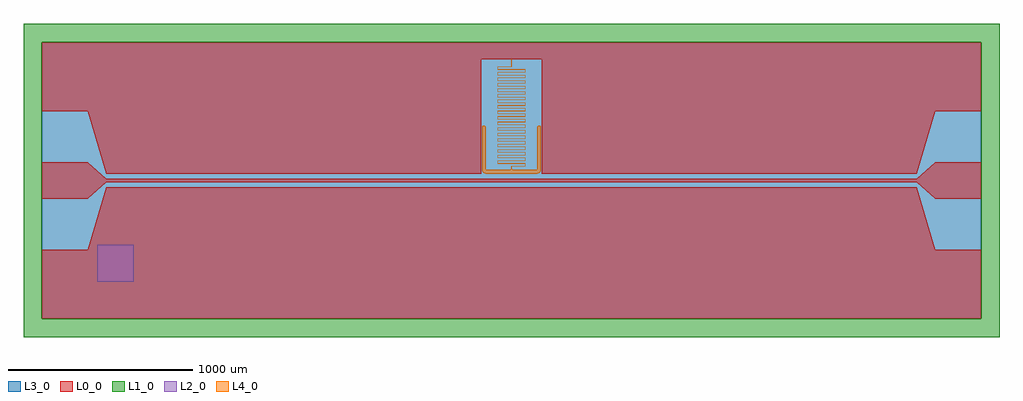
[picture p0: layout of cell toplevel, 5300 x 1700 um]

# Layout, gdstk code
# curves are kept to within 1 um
import gdstk
lib = gdstk.Library(unit=1e-6, precision=1e-09)
def R(c, l, rs):  # rectangles x0, y0, x1, y1
    for r in rs: c.add(gdstk.rectangle(r[:2], r[2:], *l))
def P(c, l, *ps):  # polygons
    for p in ps: c.add(gdstk.Polygon(p, *l))
L0_0 = (0, 0)
L1_0 = (1, 0)
L2_0 = (2, 0)
L3_0 = (3, 0)
L4_0 = (4, 0)

toplevel = lib.new_cell('toplevel')
P(toplevel, L0_0, [(165,657.5),(165,37.5),(2200,37.5),(2300,375),(2550,375),(2550,750),(-2550,750),(-2550,375),(-2300,375),(-2200,37.5),(-165,37.5),(-165,657.5)],
  [(2550,-750),(2550,-375),(2300,-375),(2200,-37.5),(-2200,-37.5),(-2300,-375),(-2550,-375),(-2550,-750)],
  [(-2200,10),(-2300,100),(-2550,100),(-2550,-100),(-2300,-100),(-2200,-10),(2200,-10),(2300,-100),(2550,-100),(2550,100),(2300,100),(2200,10)])
P(toplevel, L1_0, [(2650,850),(-2650,850),(-2650,-750),(-2550,-750),(-2550,750),(2550,750),(2550,-750),(-2550,-750),(-2650,-750),(-2650,-850),(2650,-850)])
R(toplevel, L2_0, [(-2250,-550,-2050,-350)])
R(toplevel, L3_0, [(-2550,-750,2550,750)])
P(toplevel, L4_0, [(0.302,76.548),(0.709,77.175),(74.639,77.305),(75.3,78.514),(75.297,91.589),(74.788,92.621),(-74.18,92.809),(-74.699,93.466),(-74.525,107.075),(74.251,107.213),(75.008,107.558),(75.296,108.376),(75.299,121.542),(74.976,122.476),(73.931,122.8),(-74.18,122.809),(-74.698,123.452),(-74.572,137.03),(74.251,137.213),(75.003,137.552),(75.295,138.358),(75.076,152.358),(73.937,152.8),(-74.18,152.809),(-74.698,153.447),(-74.601,166.989),(74.245,167.213),(74.998,167.547),(75.294,168.346),(75.136,182.263),(73.942,182.8),(-74.176,182.809),(-74.698,183.423),(-74.563,197.04),(73.997,197.2),(74.87,197.433),(75.273,198.149),(75.293,211.677),(74.992,212.459),(74.245,212.787),(-73.935,212.8),(-74.681,213.245),(-74.572,227.03),(73.964,227.2),(74.858,227.424),(75.271,228.136),(75.293,241.677),(74.992,242.459),(74.245,242.787),(-73.935,242.8),(-74.679,243.233),(-74.572,257.03),(73.964,257.2),(74.852,257.42),(75.269,258.123),(75.293,271.678),(74.992,272.459),(74.245,272.787),(-73.935,272.8),(-74.677,273.221),(-74.572,287.03),(73.964,287.2),(74.845,287.415),(75.264,288.097),(75.293,301.678),(74.992,302.459),(74.245,302.787),(-73.935,302.8),(-74.675,303.209),(-74.572,317.03),(73.964,317.2),(74.839,317.411),(75.26,318.078),(75.293,331.678),(74.992,332.459),(74.245,332.787),(-73.935,332.8),(-74.671,333.194),(-74.698,346.567),(-74.18,347.191),(73.959,347.2),(74.827,347.403),(75.254,348.052),(75.293,361.677),(74.992,362.459),(74.245,362.787),(-73.93,362.8),(-74.668,363.179),(-74.698,376.567),(-74.18,377.191),(73.959,377.2),(74.814,377.394),(75.246,378.019),(75.293,391.677),(74.992,392.459),(74.245,392.787),(-73.93,392.8),(-74.663,393.16),(-74.698,406.563),(-74.18,407.191),(73.959,407.2),(75.238,407.987),(75.293,421.671),(74.998,422.453),(74.245,422.787),(-73.93,422.8),(-74.657,423.139),(-74.698,436.563),(-74.18,437.191),(73.953,437.2),(75.226,437.947),(75.293,451.671),(74.998,452.453),(74.245,452.787),(-73.925,452.8),(-74.65,453.115),(-74.698,466.563),(-74.18,467.191),(73.953,467.2),(75.208,467.894),(75.294,481.665),(74.998,482.453),(74.245,482.787),(-73.925,482.8),(-74.64,483.089),(-74.698,496.558),(-74.18,497.191),(73.948,497.2),(74.73,497.347),(75.3,498.525),(75.294,511.665),(74.998,512.453),(74.245,512.787),(-73.925,512.8),(-74.626,513.058),(-74.698,526.558),(-74.18,527.191),(73.948,527.2),(75.15,527.763),(75.3,528.508),(75.294,541.659),(74.998,542.453),(74.245,542.787),(-73.92,542.8),(-74.609,543.024),(-74.698,556.553),(-74.18,557.191),(73.937,557.2),(75.097,557.673),(75.299,558.491),(75.295,571.648),(75.003,572.448),(74.245,572.787),(-73.914,572.8),(-74.582,572.984),(-74.7,573.525),(-74.698,586.548),(-74.18,587.191),(73.931,587.2),(75.014,587.564),(75.299,588.463),(75.296,601.63),(75.008,602.442),(74.251,602.787),(-74.544,602.941),(-74.699,616.515),(-74.287,617.175),(-0.136,617.428),(0.3,618.508),(0.3,657.5),(-0.3,657.5),(-0.486,617.916),(-74.416,617.761),(-75.297,616.589),(-75.298,603.446),(-74.953,602.502),(-73.926,602.2),(74.18,602.191),(74.699,601.544),(74.565,587.962),(-74.251,587.787),(-75.003,587.448),(-75.295,586.642),(-75.062,572.624),(-73.937,572.2),(74.18,572.191),(74.698,571.553),(74.596,558.003),(-74.245,557.787),(-74.998,557.453),(-75.294,556.654),(-75.129,542.724),(-73.942,542.2),(74.18,542.191),(74.698,541.558),(74.618,528.04),(-74.245,527.787),(-74.998,527.453),(-75.294,526.659),(-75.169,512.802),(-73.948,512.2),(74.18,512.191),(74.698,511.558),(74.633,498.073),(-74.245,497.787),(-74.998,497.453),(-75.294,496.665),(-75.198,482.868),(-73.953,482.2),(74.18,482.191),(74.698,481.563),(74.645,468.102),(73.925,467.8),(-74.245,467.787),(-74.998,467.453),(-75.293,466.671),(-75.217,452.921),(-73.953,452.2),(74.18,452.191),(74.698,451.563),(74.654,438.129),(73.93,437.8),(-74.245,437.787),(-74.998,437.453),(-75.293,436.671),(-75.232,422.967),(-73.959,422.2),(74.18,422.191),(74.698,421.563),(74.66,408.15),(73.93,407.8),(-74.245,407.787),(-74.998,407.453),(-75.293,406.671),(-75.243,393.006),(-74.808,392.39),(-73.959,392.2),(74.18,392.191),(74.698,391.567),(74.665,378.168),(73.93,377.8),(-74.245,377.787),(-74.992,377.459),(-75.293,376.677),(-75.251,363.039),(-74.82,362.398),(-73.959,362.2),(74.18,362.191),(74.698,361.567),(74.67,348.186),(73.93,347.8),(-74.245,347.787),(-74.992,347.459),(-75.293,346.677),(-75.257,333.065),(-74.833,332.407),(-73.959,332.2),(74.18,332.191),(74.698,331.567),(74.673,318.202),(73.935,317.8),(-74.245,317.787),(-74.992,317.459),(-75.293,316.678),(-75.263,303.091),(-74.845,302.415),(-73.964,302.2),(74.184,302.19),(74.698,301.567),(74.675,288.213),(73.935,287.8),(-74.245,287.787),(-74.992,287.459),(-75.293,286.678),(-75.267,273.11),(-74.852,272.42),(-73.964,272.2),(74.184,272.19),(74.698,271.567),(74.678,258.229),(73.935,257.8),(-74.245,257.787),(-74.992,257.459),(-75.293,256.677),(-75.27,243.129),(-74.858,242.424),(-73.964,242.2),(74.184,242.19),(74.698,241.567),(74.68,228.237),(73.935,227.8),(-74.245,227.787),(-74.992,227.459),(-75.293,226.677),(-75.273,213.149),(-74.864,212.428),(-73.964,212.2),(74.184,212.19),(74.698,211.567),(74.681,198.245),(73.935,197.8),(-74.003,197.799),(-75.003,197.448),(-75.3,196.378),(-75.292,183.31),(-74.987,182.535),(-74.238,182.212),(73.92,182.2),(74.612,181.971),(74.698,168.447),(74.18,167.809),(-73.942,167.8),(-75.109,167.308),(-75.299,166.503),(-75.295,153.352),(-75.003,152.552),(-74.245,152.213),(73.914,152.2),(74.588,152.009),(74.7,151.47),(74.698,138.452),(74.18,137.809),(-73.931,137.8),(-75.029,137.418),(-75.299,136.531),(-75.295,123.364),(-75.008,122.558),(-74.251,122.213),(73.914,122.2),(74.552,122.052),(74.7,121.485),(74.699,108.456),(74.18,107.809),(-73.926,107.8),(-74.9,107.544),(-75.298,106.565),(-75.296,93.388),(-75.014,92.564),(-74.251,92.213),(74.484,92.104),(74.602,78.013),(0.368,77.698),(-0.296,76.612),(-0.3,62.5),(-10,57.5),(-132.878,57.504),(-136.787,57.751),(-138.99,58.501),(-139.764,60.808),(-139.998,64.94),(-140.01,287.936),(-140.937,291.726),(-143.244,294.873),(-146.58,296.897),(-150.436,297.49),(-153.827,296.739),(-157.071,294.571),(-159.239,291.327),(-159.99,287.936),(-160,65.391),(-159.711,59.11),(-158.774,54.25),(-156.933,49.574),(-154.306,45.638),(-150.803,42.359),(-146.677,39.963),(-141.92,38.386),(-136.75,37.638),(133.646,37.512),(138.874,37.848),(143.25,38.726),(147.232,40.22),(150.936,42.458),(154.735,46.164),(157.537,50.823),(159.256,56.232),(159.958,62.619),(160,287.5),(159.239,291.327),(156.756,294.873),(153.42,296.897),(149.128,297.462),(145.382,296.37),(142.627,294.256),(140.761,291.327),(140.01,287.936),(139.999,65.183),(139.793,61.006),(139.08,58.618),(137.063,57.799),(132.878,57.504),(10,57.5),(0.3,62.5)])

lib.write_gds('toplevel.gds')
